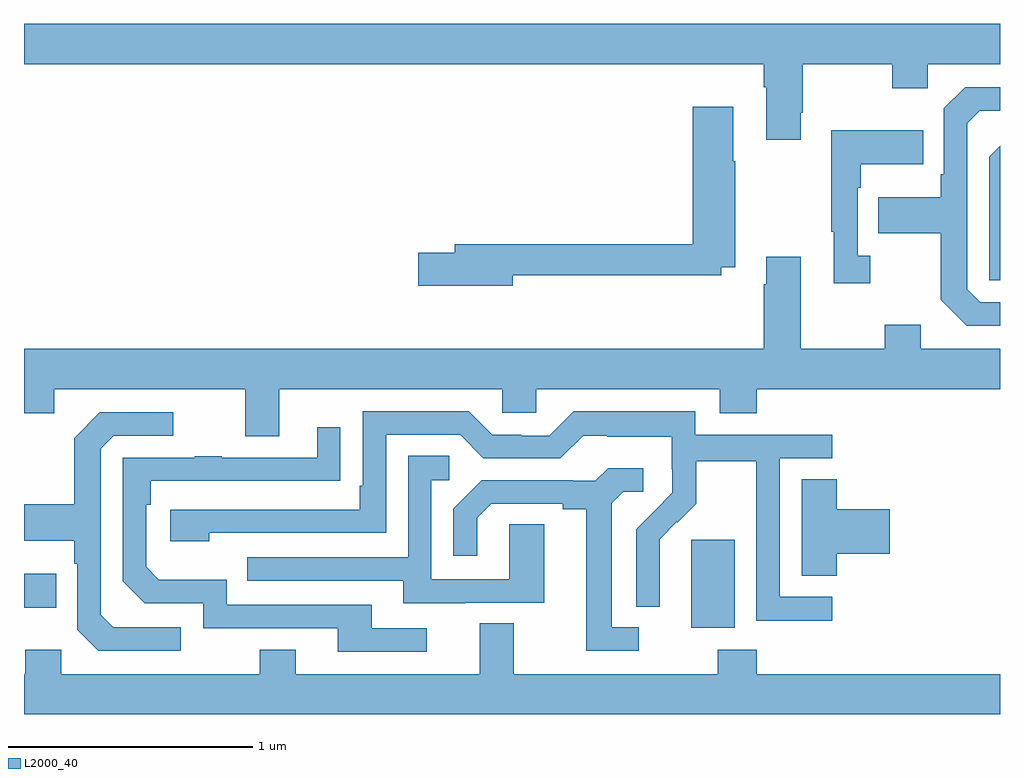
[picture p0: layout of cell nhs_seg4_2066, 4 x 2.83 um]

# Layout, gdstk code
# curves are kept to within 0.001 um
import gdstk
lib = gdstk.Library(unit=1e-6, precision=1e-09)
def R(c, l, rs):  # rectangles x0, y0, x1, y1
    for r in rs: c.add(gdstk.rectangle(r[:2], r[2:], *l))
def P(c, l, *ps):  # polygons
    for p in ps: c.add(gdstk.Polygon(p, *l))
L2000_40 = (2000, 40)

nhs_seg4_2066 = lib.new_cell('nhs_seg4_2066')
R(nhs_seg4_2066, L2000_40, [(219.734,803.834,219.913,804.195), (217,803.915,217.133,804.055)])
P(nhs_seg4_2066, L2000_40, [(220.183,805.945),(220.191,805.945),(220.191,806.144),(220.558,806.144),(220.558,806.045),(220.704,806.045),(220.704,806.144),(221,806.144),(221,806.308),(217,806.308),(217,806.144),(220.031,806.144),(220.031,806.048),(220.043,806.048),(220.043,805.833),(220.183,805.833)],
  [(221,805.167),(220.92,805.167),(220.866,805.221),(220.866,805.902),(220.917,805.953),(221,805.953),(221,806.049),(220.857,806.049),(220.77,805.962),(220.77,805.693),(220.758,805.693),(220.758,805.597),(220.501,805.597),(220.501,805.45),(220.758,805.45),(220.758,805.177),(220.863,805.071),(221,805.071)],
  [(219.004,805.278),(219.858,805.278),(219.858,805.31),(219.915,805.31),(219.915,805.745),(219.907,805.745),(219.907,805.969),(219.74,805.969),(219.74,805.406),(218.765,805.406),(218.765,805.37),(218.616,805.37),(218.616,805.235),(219.004,805.235)],
  [(220.468,805.358),(220.416,805.358),(220.416,805.637),(220.429,805.637),(220.429,805.733),(220.685,805.733),(220.685,805.873),(220.308,805.873),(220.308,805.457),(220.319,805.457),(220.319,805.245),(220.468,805.245)],
  [(221,805.808),(220.956,805.764),(220.956,805.257),(221,805.257)],
  [(218.047,804.812),(218.961,804.812),(218.961,804.714),(219.099,804.714),(219.099,804.812),(219.851,804.812),(219.851,804.713),(220.004,804.713),(220.004,804.812),(221,804.812),(221,804.976),(220.675,804.976),(220.675,805.075),(220.528,805.075),(220.528,804.976),(220.183,804.976),(220.183,805.354),(220.043,805.354),(220.043,805.241),(220.031,805.241),(220.031,804.976),(217,804.976),(217,804.713),(217.123,804.713),(217.123,804.812),(217.907,804.812),(217.907,804.618),(218.047,804.618)],
  [(220.312,803.961),(220.098,803.961),(220.098,804.528),(220.312,804.528),(220.312,804.624),(219.75,804.624),(219.75,804.721),(219.253,804.721),(219.153,804.621),(219.038,804.621),(219.038,804.624),(218.919,804.624),(218.823,804.72),(218.388,804.72),(218.388,804.415),(218.375,804.415),(218.375,804.318),(217.599,804.318),(217.599,804.188),(217.76,804.188),(217.76,804.222),(218.484,804.222),(218.484,804.624),(218.787,804.624),(218.883,804.528),(219.198,804.528),(219.291,804.621),(219.391,804.621),(219.391,804.617),(219.654,804.617),(219.654,804.483),(219.656,804.483),(219.656,804.386),(219.51,804.238),(219.51,803.92),(219.606,803.92),(219.605,804.197),(219.675,804.267),(219.678,804.264),(219.755,804.341),(219.755,804.516),(220,804.516),(220,804.292),(220.002,804.292),(220.002,803.863),(220.312,803.863)],
  [(217.642,803.835),(217.365,803.835),(217.314,803.886),(217.314,804.567),(217.368,804.621),(217.612,804.621),(217.612,804.717),(217.311,804.717),(217.206,804.611),(217.206,804.339),(217,804.339),(217,804.191),(217.206,804.191),(217.206,804.095),(217.218,804.095),(217.218,803.826),(217.305,803.739),(217.642,803.739)],
  [(218.65,803.832),(218.425,803.832),(218.425,803.928),(217.83,803.928),(217.83,804.031),(217.553,804.031),(217.5,804.084),(217.5,804.338),(217.52,804.338),(217.52,804.435),(218.297,804.436),(218.297,804.655),(218.201,804.655),(218.201,804.531),(217.811,804.531),(217.811,804.536),(217.699,804.536),(217.699,804.531),(217.404,804.531),(217.404,804.024),(217.494,803.934),(217.734,803.934),(217.734,803.832),(218.285,803.832),(218.285,803.736),(218.65,803.736)],
  [(218.809,803.937),(219.133,803.937),(219.133,804.257),(218.988,804.257),(218.988,804.033),(218.67,804.033),(218.67,804.438),(218.743,804.438),(218.743,804.539),(218.574,804.539),(218.574,804.123),(217.915,804.123),(217.915,804.027),(218.555,804.027),(218.555,803.933),(218.809,803.933)],
  [(219.52,803.835),(219.409,803.835),(219.409,804.343),(219.456,804.39),(219.538,804.39),(219.538,804.487),(219.394,804.487),(219.342,804.435),(219.248,804.435),(219.248,804.438),(218.876,804.438),(218.76,804.322),(218.76,804.129),(218.857,804.129),(218.857,804.285),(218.914,804.342),(219.209,804.342),(219.209,804.32),(219.305,804.32),(219.305,803.739),(219.52,803.739)],
  [(220.331,804.137),(220.549,804.137),(220.549,804.32),(220.331,804.32),(220.331,804.443),(220.187,804.443),(220.187,804.046),(220.331,804.046)],
  [(221,803.644),(220.004,803.644),(220.004,803.743),(219.844,803.743),(219.844,803.644),(219.007,803.644),(219.007,803.852),(218.867,803.852),(218.867,803.644),(218.113,803.644),(218.113,803.743),(217.966,803.743),(217.966,803.644),(217.152,803.644),(217.152,803.743),(217.006,803.743),(217.006,803.644),(217,803.644),(217,803.48),(221,803.48)])

lib.write_gds('nhs_seg4_2066.gds')
